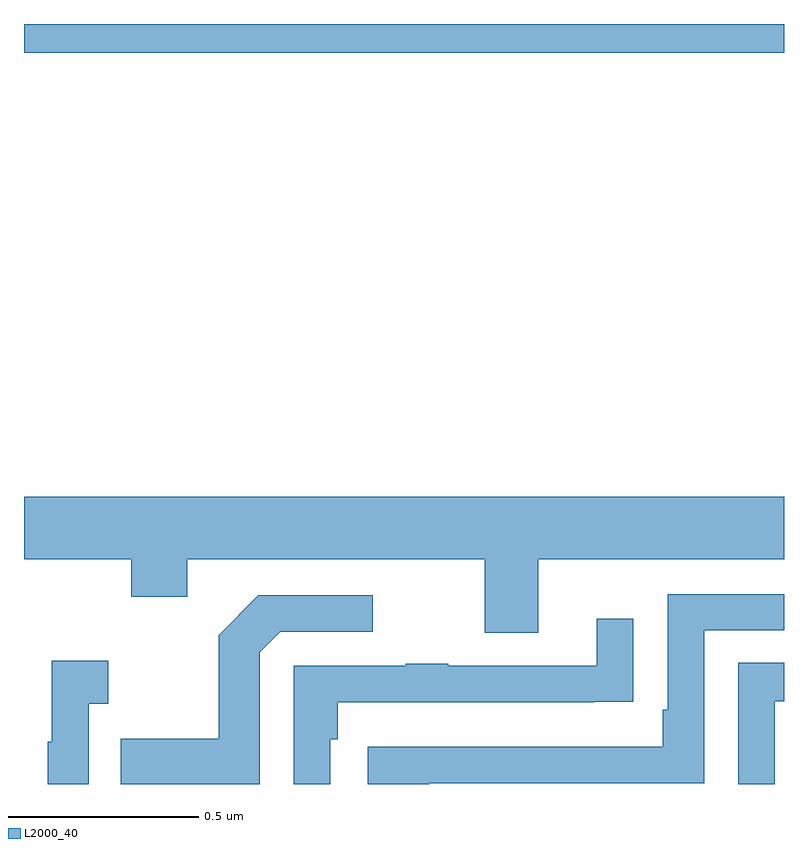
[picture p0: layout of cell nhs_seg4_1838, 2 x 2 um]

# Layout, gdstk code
import gdstk
lib = gdstk.Library(unit=1e-6, precision=1e-09)
def R(c, l, rs):  # rectangles x0, y0, x1, y1
    for r in rs: c.add(gdstk.rectangle(r[:2], r[2:], *l))
def P(c, l, *ps):  # polygons
    for p in ps: c.add(gdstk.Polygon(p, *l))
L2000_40 = (2000, 40)

nhs_seg4_1838 = lib.new_cell('nhs_seg4_1838')
R(nhs_seg4_1838, L2000_40, [(133,792.824,135,792.9)])
P(nhs_seg4_1838, L2000_40, [(134.353,791.492),(135,791.492),(135,791.656),(133,791.656),(133,791.492),(133.282,791.492),(133.282,791.393),(133.429,791.393),(133.429,791.492),(134.213,791.492),(134.213,791.298),(134.353,791.298)],
  [(134.066,790.902),(134.79,790.902),(134.79,791.304),(135,791.304),(135,791.4),(134.694,791.4),(134.694,791.095),(134.681,791.095),(134.681,790.998),(133.905,790.998),(133.905,790.9),(134.066,790.9)],
  [(133.62,791.247),(133.674,791.301),(133.918,791.301),(133.918,791.397),(133.617,791.397),(133.512,791.291),(133.512,791.019),(133.255,791.019),(133.255,790.9),(133.62,790.9)],
  [(133.806,791.018),(133.826,791.018),(133.826,791.115),(134.501,791.115),(134.501,791.116),(134.603,791.116),(134.603,791.335),(134.507,791.335),(134.507,791.211),(134.117,791.211),(134.117,791.216),(134.005,791.216),(134.005,791.211),(133.71,791.211),(133.71,790.9),(133.806,790.9)],
  [(133.17,791.111),(133.222,791.111),(133.222,791.224),(133.073,791.224),(133.073,791.011),(133.062,791.011),(133.062,790.9),(133.17,790.9)],
  [(134.976,791.118),(135,791.118),(135,791.219),(134.88,791.219),(134.88,790.9),(134.976,790.9)])

lib.write_gds('nhs_seg4_1838.gds')
